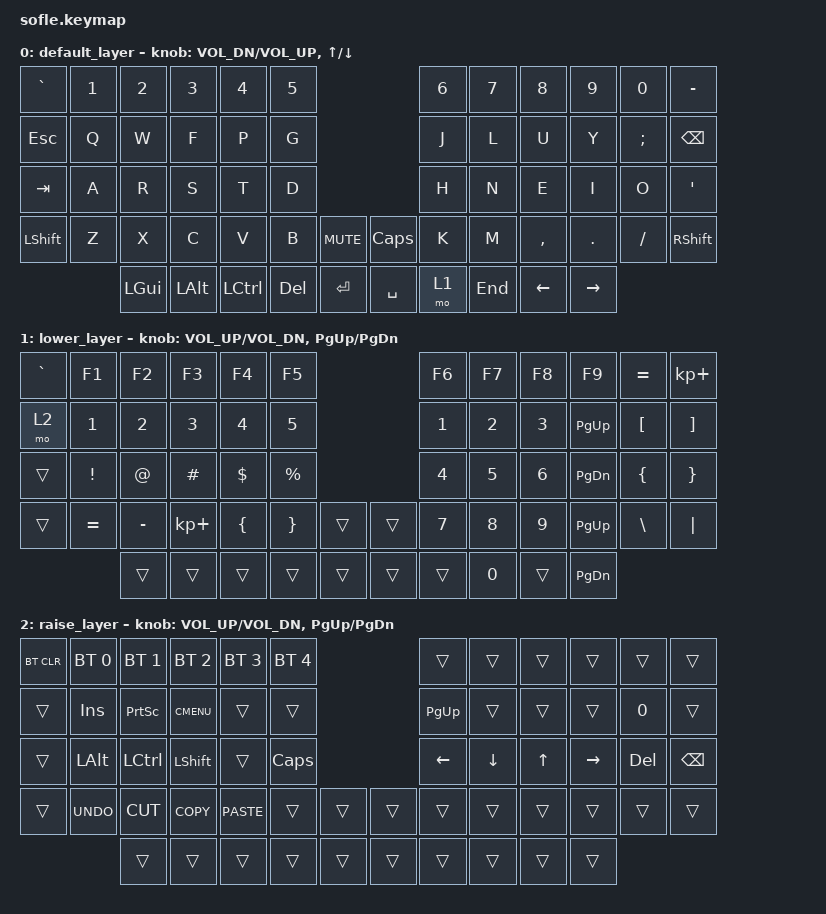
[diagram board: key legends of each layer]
/*
 * Copyright (c) 2020 The ZMK Contributors
 *
 * SPDX-License-Identifier: MIT
 */

#include <behaviors.dtsi>
#include <dt-bindings/zmk/keys.h>
#include <dt-bindings/zmk/bt.h>

/ {
    keymap {
        compatible = "zmk,keymap";

        default_layer {
// ------------------------------------------------------------------------------------------------------------
// |  `    |  1  |  2  |  3   |  4   |  5   |                   |  6   |  7    |  8    |  9   |   0   |       |
// |  ESC  |  Q  |  W  |  E   |  R   |  T   |                   |  Y   |  U    |  I    |  O   |   P   | BKSPC |
// |  TAB  |  A  |  S  |  D   |  F   |  G   |                   |  H   |  J    |  K    |  L   |   ;   |   '   |
// | SHIFT |  Z  |  X  |  C   |  V   |  B   |  MUTE  |  |       |  N   |  M    |  ,    |  .   |   /   | SHIFT |
//               | GUI | ALT  | CTRL | LOWER|  ENTER |  | SPACE | RAISE| CTRL  | ALT   | GUI  |
            bindings = <
&kp GRAVE &kp N1 &kp N2   &kp N3   &kp N4    &kp N5                      &kp N6 &kp N7    &kp N8    &kp N9   &kp N0   &kp MINUS
&kp ESC   &kp Q  &kp W    &kp F    &kp P     &kp G                       &kp J  &kp L     &kp U     &kp Y    &kp SEMI    &kp BSPC
&kp TAB   &kp A  &kp R    &kp S    &kp T     &kp D                       &kp H  &kp N     &kp E     &kp I    &kp O      &kp SQT
&kp LSHFT &kp Z  &kp X    &kp C    &kp V     &kp B  &kp C_MUTE &kp CAPS     &kp K  &kp M     &kp COMMA &kp DOT  &kp FSLH &kp RSHFT
                 &kp LGUI &kp LALT &kp LCTRL &kp DEL  &kp RET    &kp SPACE &mo 1  &kp END &kp LEFT  &kp RIGHT
            >;

            sensor-bindings = <&inc_dec_kp C_VOL_DN C_VOL_UP &inc_dec_kp UP DOWN>;
        };

        lower_layer {
// TODO: Some binds are waiting for shifted keycode support.
// ------------------------------------------------------------------------------------------------------------
// | `     |  F1 |  F2 |  F3  |  F4  |  F5  |                   |  F6  |  F7   |  F8   |  F9  |  F10  |  F11  |
// | RAISE |   1 |   2 |   3  |   4  |   5  |                   |   6  |   7   |   8   |   9  |    0  |  F12  |
// |       |  !  |  @  |  #   |  $   |  %   |                   |  ^   |  &    |  *    |  (   |   )   |   |   |
// |       |  =  |  -  |  +   |  {   |  }   |        |  |       |  [   |  ]    |  ;    |  :   |   \   |       |
//               |     |      |      |      |        |  |       |      |       |       |      |
            bindings = <
&kp GRAVE &kp F1    &kp F2    &kp F3      &kp F4    &kp F5                    &kp F6    &kp F7   &kp F8          &kp F9    &kp EQUAL   &kp KP_PLUS
&mo 2     &kp N1    &kp N2    &kp N3      &kp N4    &kp N5                    &kp N1    &kp N2   &kp N3          &kp PG_UP    &kp LBKT    &kp RBKT
&trans    &kp EXCL  &kp AT    &kp HASH    &kp DLLR  &kp PRCNT                 &kp N4    &kp N5   &kp N6        &kp PG_DN  &kp LBRC  &kp RBRC
&trans    &kp EQUAL &kp MINUS &kp KP_PLUS &kp LBRC  &kp RBRC  &trans   &trans &kp N7    &kp N8   &kp N9        &kp PG_UP &kp BSLH  &kp PIPE
                    &trans    &trans      &trans    &trans    &trans   &trans &trans    &kp N0   &trans          &kp PG_DN
            >;

            sensor-bindings = <&inc_dec_kp C_VOL_UP C_VOL_DN &inc_dec_kp PG_UP PG_DN>;
        };

        raise_layer {
// ------------------------------------------------------------------------------------------------------------
// |BTCLR| BT1  | BT2  |  BT3  |  BT4  |  BT5 |                |      |      |       |      |       |       |
// |     | INS  | PSCR | GUI   |       |      |                | PGUP |      |       |      |       |       |
// |     | ALT  | CTRL | SHIFT |       | CAPS |                |  <-  |   v  |   ^   |  ->  |  DEL  | BKSPC |
// |     | UNDO | CUT  | COPY  | PASTE |      |      |  |      |      |      |       |      |       |       |
//              |      |       |       |      |      |  |      |      |      |       |      |
            bindings = <
&bt BT_CLR &bt BT_SEL 0 &bt BT_SEL 1 &bt BT_SEL 2 &bt BT_SEL 3 &bt BT_SEL 4             &trans    &trans    &trans   &trans    &trans  &trans
&trans     &kp INS      &kp PSCRN    &kp K_CMENU  &trans       &trans                   &kp PG_UP &trans    &trans   &trans    &kp N0  &trans
&trans     &kp LALT     &kp LCTRL    &kp LSHFT    &trans       &kp CLCK                 &kp LEFT  &kp DOWN  &kp UP   &kp RIGHT &kp DEL &kp BSPC
&trans     &kp K_UNDO   &kp K_CUT    &kp K_COPY   &kp K_PASTE  &trans  &trans   &trans  &trans    &trans    &trans   &trans    &trans  &trans
                        &trans       &trans       &trans       &trans  &trans   &trans  &trans    &trans    &trans   &trans
            >;

            sensor-bindings = <&inc_dec_kp C_VOL_UP C_VOL_DN &inc_dec_kp PG_UP PG_DN>;
        };
    };
};
